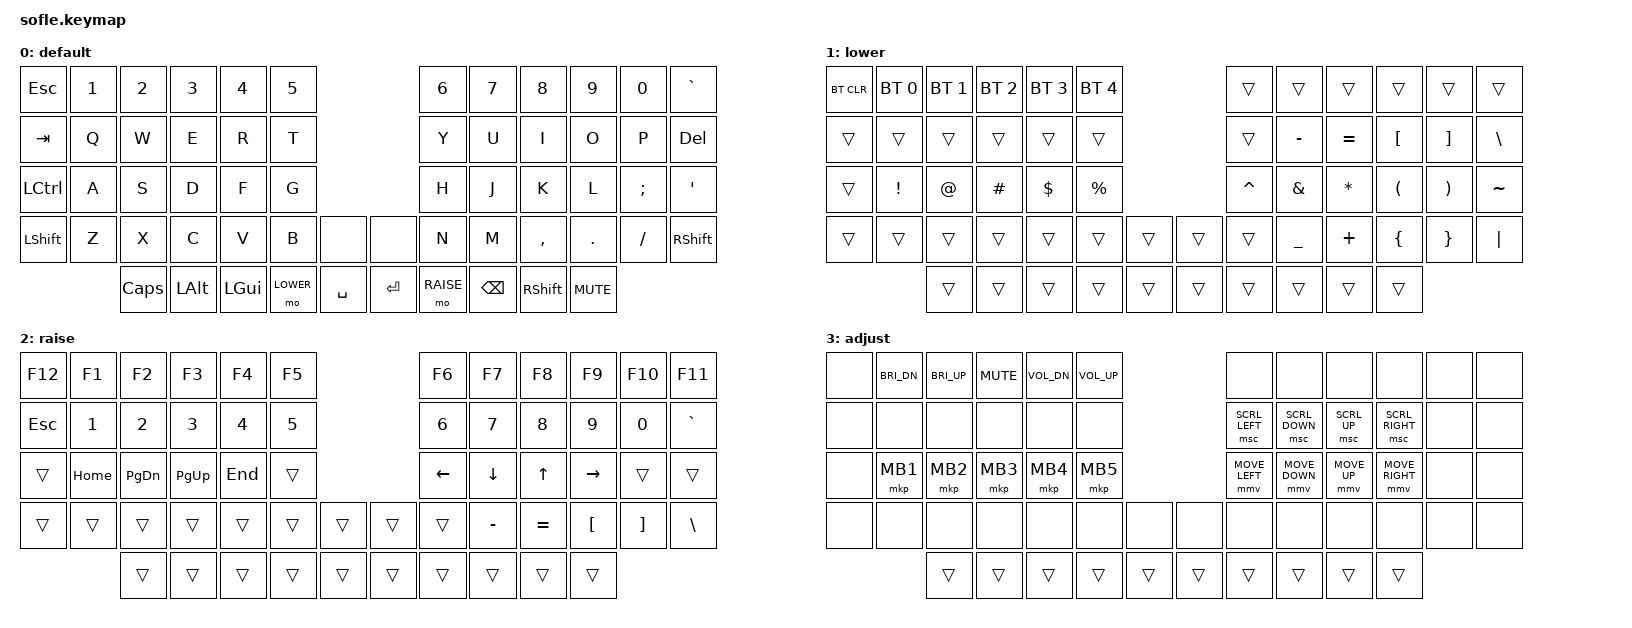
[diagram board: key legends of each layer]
/*
 * Copyright (c) 2020 The ZMK Contributors
 *
 * SPDX-License-Identifier: MIT
 */

#include <behaviors.dtsi>
#include <dt-bindings/zmk/keys.h>
#include <dt-bindings/zmk/bt.h>
#include <dt-bindings/zmk/rgb.h>
#include <dt-bindings/zmk/ext_power.h>
#include <dt-bindings/zmk/pointing.h>

#define BASE 0
#define LOWER 1
#define RAISE 2
#define ADJUST 3

#define ZMK_POINTING_DEFAULT_MOVE_VAL 4500
#define ZMK_POINTING_DEFAULT_SCRL_VAL 150

&mmv {
    time-to-max-speed-ms = <500>;
};

&msc {
    acceleration-exponent = <1>;
    time-to-max-speed-ms = <500>;
};

/ {

   // Activate ADJUST layer by pressing raise and lower
    conditional_layers {
        compatible = "zmk,conditional-layers";
        adjust_layer {
            if-layers = <LOWER RAISE>;
            then-layer = <ADJUST>;
        };
    };

    keymap {
        compatible = "zmk,keymap";

        default_layer {
            display-name = "default";
            bindings = <
&kp ESC     &kp N1  &kp N2    &kp N3    &kp N4    &kp N5                           &kp N6     &kp N7    &kp N8           &kp N9      &kp N0    &kp GRAVE
&kp TAB     &kp Q   &kp W     &kp E     &kp R     &kp T                            &kp Y      &kp U     &kp I            &kp O       &kp P     &kp DEL
&kp LCTRL   &kp A   &kp S     &kp D     &kp F     &kp G                            &kp H      &kp J     &kp K            &kp L       &kp SEMI  &kp SQT
&kp LSHIFT  &kp Z   &kp X     &kp C     &kp V     &kp B      &none        &none    &kp N      &kp M     &kp COMMA        &kp DOT     &kp FSLH  &kp RSHFT
                    &kp CLCK  &kp LALT  &kp LGUI  &mo LOWER  &kp SPACE    &kp RET  &mo RAISE  &kp BSPC  &kp RIGHT_SHIFT  &kp K_MUTE
            >;
        };

        lower_layer {
            display-name = "lower";
            bindings = <
&bt BT_CLR  &bt BT_SEL 0  &bt BT_SEL 1  &bt BT_SEL 2  &bt BT_SEL 3  &bt BT_SEL 4                    &trans     &trans     &trans     &trans    &trans    &trans
&trans      &trans        &trans        &trans        &trans        &trans                          &trans     &kp MINUS  &kp EQUAL  &kp LBKT  &kp RBKT  &kp BSLH
&trans      &kp EXCL      &kp AT        &kp HASH      &kp DLLR      &kp PRCNT                       &kp CARET  &kp AMPS   &kp ASTRK  &kp LPAR  &kp RPAR  &kp TILDE
&trans      &trans        &trans        &trans        &trans        &trans        &trans    &trans  &trans     &kp UNDER  &kp PLUS   &kp LBRC  &kp RBRC  &kp PIPE
                          &trans        &trans        &trans        &trans        &trans    &trans  &trans     &trans     &trans     &trans
            >;
        };

        raise_layer {
            display-name = "raise";
            bindings = <
&kp F12  &kp F1    &kp F2     &kp F3     &kp F4   &kp F5                    &kp F6    &kp F7     &kp F8     &kp F9     &kp F10   &kp F11
&kp ESC  &kp N1    &kp N2     &kp N3     &kp N4   &kp N5                    &kp N6    &kp N7     &kp N8     &kp N9     &kp N0    &kp GRAVE
&trans   &kp HOME  &kp PG_DN  &kp PG_UP  &kp END  &trans                    &kp LEFT  &kp DOWN   &kp UP     &kp RIGHT  &trans    &trans
&trans   &trans    &trans     &trans     &trans   &trans  &trans    &trans  &trans    &kp MINUS  &kp EQUAL  &kp LBKT   &kp RBKT  &kp BSLH
                   &trans     &trans     &trans   &trans  &trans    &trans  &trans    &trans     &trans     &trans
            >;
        };

        adjust_layer {
            display-name = "adjust";
            bindings = <
&none  &kp C_BRI_DN  &kp C_BRI_UP  &kp K_MUTE  &kp K_VOL_DN  &kp K_VOL_UP                    &none           &none           &none         &none            &none  &none
&none  &none         &none         &none       &none         &none                           &msc SCRL_LEFT  &msc SCRL_DOWN  &msc SCRL_UP  &msc SCRL_RIGHT  &none  &none
&none  &mkp MB1      &mkp MB2      &mkp MB3    &mkp MB4      &mkp MB5                        &mmv MOVE_LEFT  &mmv MOVE_DOWN  &mmv MOVE_UP  &mmv MOVE_RIGHT  &none  &none
&none  &none         &none         &none       &none         &none         &none     &none   &none           &none           &none         &none            &none  &none
                     &trans        &trans      &trans        &trans        &trans    &trans  &trans          &trans          &trans        &trans
            >;
        };
    };
};
